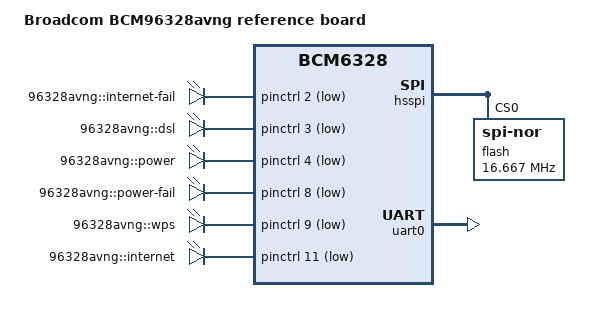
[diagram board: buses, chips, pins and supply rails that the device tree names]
/dts-v1/;

#include "bcm6328.dtsi"

#include <dt-bindings/input/input.h>

/ {
	model = "Broadcom BCM96328avng reference board";
	compatible = "brcm,bcm96328avng", "brcm,bcm6328";

	chosen {
		bootargs = "rootfstype=squashfs,jffs2 noinitrd console=ttyS0,115200";
		stdout-path = "serial0:115200n8";
	};

	gpio-leds {
		compatible = "gpio-leds";

		inet_fail {
			label = "96328avng::internet-fail";
			gpios = <&pinctrl 2 1>;
		};
		dsl {
			label = "96328avng::dsl";
			gpios = <&pinctrl 3 1>;
		};
		power {
			label = "96328avng::power";
			gpios = <&pinctrl 4 1>;
			default-state = "on";
		};
		power_fail {
			label = "96328avng::power-fail";
			gpios = <&pinctrl 8 1>;
		};
		wps {
			label = "96328avng::wps";
			gpios = <&pinctrl 9 1>;
		};
		inet {
			label = "96328avng::internet";
			gpios = <&pinctrl 11 1>;
		};
	};
};

&hsspi {
	status = "ok";

	flash@0 {
		compatible = "jedec,spi-nor";
		spi-max-frequency = <16666667>;
		spi-tx-bus-width = <2>;
		spi-rx-bus-width = <2>;
		reg = <0>;

		#address-cells = <1>;
		#size-cells = <1>;

		linux,part-probe = "bcm63xxpart";

		partitions {
			compatible = "brcm,bcm963xx-cfe-nor-partitions";
		};
	};
};

&pinctrl {
	pinctrl-names = "default";
	pinctrl-0 = <&pinctrl_usb_port1_device>;
};

&uart0 {
	status = "ok";
};
